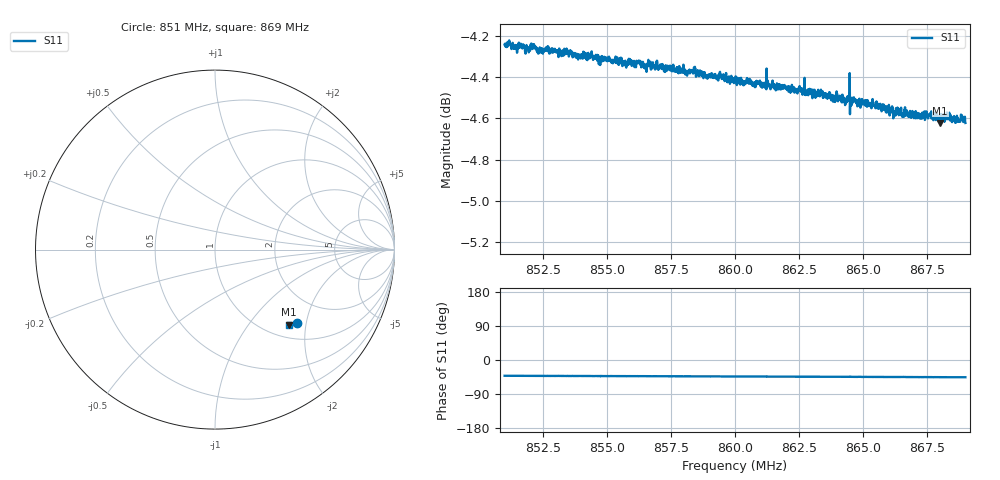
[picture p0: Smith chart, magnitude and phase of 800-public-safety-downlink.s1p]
! Calibrated averaged scanner-service zoom
# Hz S RI R 50
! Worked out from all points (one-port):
!   2001 points, 851 MHz to 869 MHz, reference 50 ohm
!   lowest |S11| = -4.6 dB at 868.02 MHz (marker M1), VSWR 3.85, Z = 63.1 - j80.5 ohm
!   |S11| at or under -10 dB: nowhere
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8.51e8  0.4591 -0.4073
8.51864e8  0.4568 -0.408
8.52053e8  0.4564 -0.41
8.52341e8  0.455 -0.4085
8.5325e8  0.4538 -0.4089
8.53547e8  0.4529 -0.4099
8.53934e8  0.4514 -0.4092
8.54429e8  0.4505 -0.4102
8.555e8  0.449 -0.4113
8.5775e8  0.4435 -0.4126
8.58254e8  0.4415 -0.4129
8.6e8  0.4365 -0.414
8.61098e8  0.4332 -0.4149
8.61269e8  0.4349 -0.4145
8.6225e8  0.4308 -0.4146
8.62592e8  0.4303 -0.4166
8.64365e8  0.4253 -0.417
8.645e8  0.4247 -0.4169
8.64707e8  0.4241 -0.4174
8.64842e8  0.425 -0.4166
8.65607e8  0.4217 -0.4168
8.66237e8  0.4182 -0.416
8.66588e8  0.4189 -0.4152
8.6675e8  0.4168 -0.417
8.6765e8  0.4146 -0.4193
8.68019e8  0.4131 -0.4175
8.68352e8  0.4138 -0.4199
8.69e8  0.4112 -0.4194
